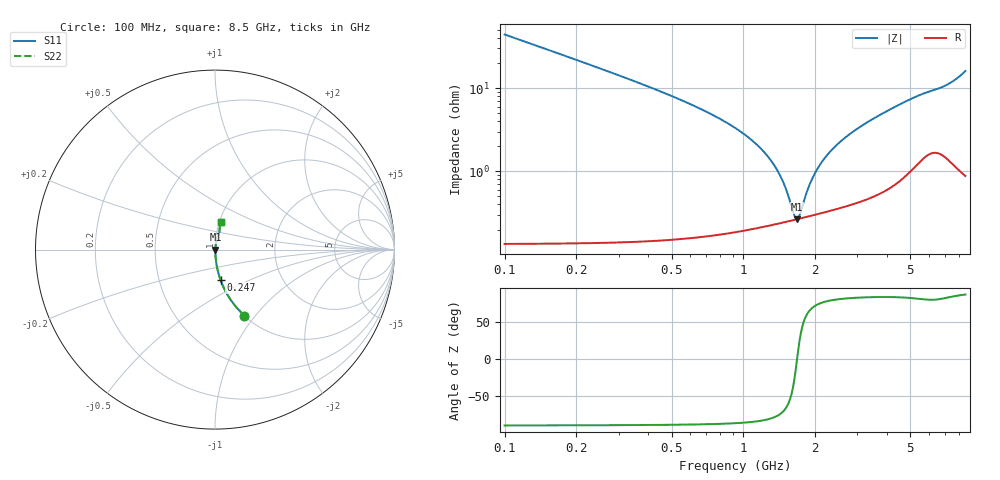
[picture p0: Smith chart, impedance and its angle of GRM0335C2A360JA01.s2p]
!Murata Part Number: GRM0335C2A360JA01
!These Parameters are Measured in Series Mode Connection
!Data Generated on Mar 30, 2021
!  o--ll--o
!Port1  Port2
!  o------o
!Operation Temp=25[degC], DC Bias Voltage=0[V]
!Freq. Start=100[MHz] Stop=9[GHz] 401[Steps]
# Hz S RI R 50
!Freq.(Hz) S11(Real) S11(Imag) S21(Real) S21(Imag) S12(Real) S12(Imag) S22(Real) S22(Imag)
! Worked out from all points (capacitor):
!   401 points, 100 MHz to 8.5 GHz, reference 50 ohm
!   read as one part in series: C = 36 pF near 142 MHz
!   lowest |Z| = 266 mohm at 1.675 GHz (marker M1)
!   series resonance near 1.678 GHz, so ESL is about 250 pH
!   S11 on the Smith chart (normalised r, x): 100 MHz: 1.00, -0.88; 247 MHz: 1.00, -0.35; 8.5 GHz: 1.02, +0.32
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1e8  0.1633 -0.3681  0.8367 0.3681  0.8367 0.3681  0.1633 -0.3681
1.84e8  0.0545 -0.2241  0.9455 0.2241  0.9455 0.2241  0.0545 -0.2241
2.47e8  0.031 -0.1694  0.969 0.1694  0.969 0.1694  0.031 -0.1694
3.52e8  0.0155 -0.1179  0.9845 0.1179  0.9845 0.1179  0.0155 -0.1179
4.99e8  0.00793 -0.0798  0.9921 0.0798  0.9921 0.0798  0.00793 -0.0798
1.045e9  0.00263 -0.0256  0.9974 0.0256  0.9974 0.0256  0.00263 -0.0256
1.234e9  0.00244 -0.0162  0.9976 0.0162  0.9976 0.0162  0.00244 -0.0162
1.381e9  0.00243 -0.0102  0.9976 0.0102  0.9976 0.0102  0.00243 -0.0102
1.507e9  0.0025 -0.00558  0.9975 0.00558  0.9975 0.00558  0.0025 -0.00558
1.612e9  0.00259 -0.00207  0.9974 0.00207  0.9974 0.00207  0.00259 -0.00207
1.675e9  0.00265 -8.38e-05  0.9973 8.38e-05  0.9973 8.38e-05  0.00265 -8.38e-05
1.717e9  0.0027 0.0012  0.9973 -0.0012  0.9973 -0.0012  0.0027 0.0012
1.843e9  0.00286 0.00488  0.9971 -0.00488  0.9971 -0.00488  0.00286 0.00488
1.927e9  0.00298 0.0072  0.997 -0.0072  0.997 -0.0072  0.00298 0.0072
2.137e9  0.00332 0.0127  0.9967 -0.0127  0.9967 -0.0127  0.00332 0.0127
2.452e9  0.00391 0.0202  0.9961 -0.0202  0.9961 -0.0202  0.00391 0.0202
2.914e9  0.00498 0.0302  0.995 -0.0302  0.995 -0.0302  0.00498 0.0302
3.523e9  0.0068 0.0426  0.9932 -0.0426  0.9932 -0.0426  0.0068 0.0426
4.3e9  0.0102 0.0579  0.9898 -0.0579  0.9898 -0.0579  0.0102 0.0579
5.707e9  0.0212 0.0823  0.9788 -0.0823  0.9788 -0.0823  0.0212 0.0823
7.114e9  0.0251 0.1045  0.9749 -0.1045  0.9749 -0.1045  0.0251 0.1045
8.5e9  0.033 0.1534  0.967 -0.1534  0.967 -0.1534  0.033 0.1534
